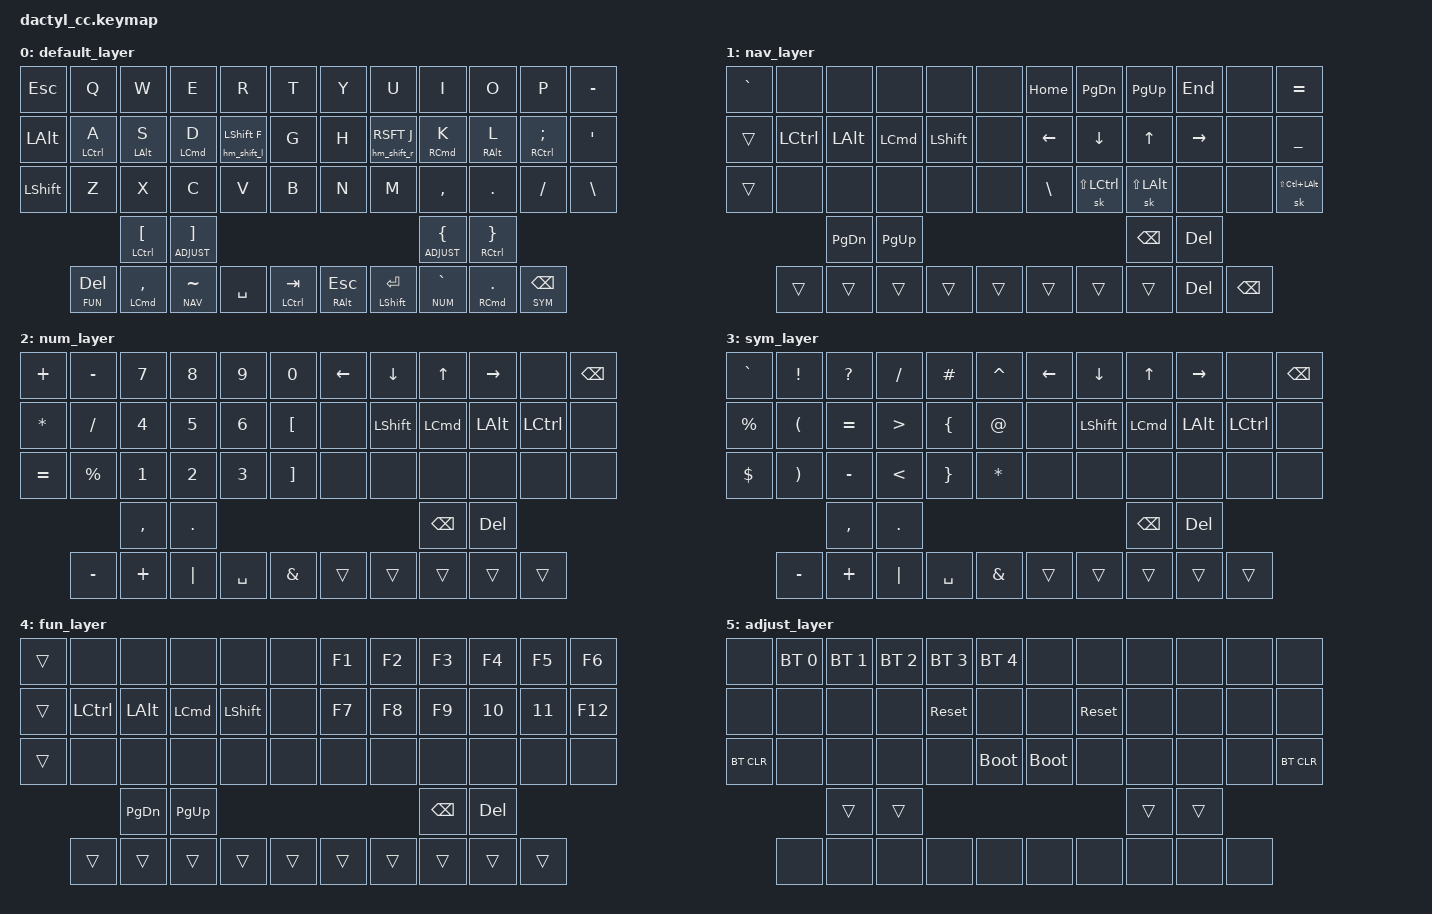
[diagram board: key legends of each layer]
#include "includes/keypos_dactylcc.h"

#define KEYS_L LT0 LT1 LT2 LT3 LT4 LT5 LM0 LM1 LM2 LM3 LM4 LM5 LB0 LB1 LB2 LB3 LB4 LB5 LF0 LF1
#define KEYS_R RT0 RT1 RT2 RT3 RT4 RT5 RM0 RM1 RM2 RM3 RM4 RM5 RB0 RB1 RB2 RB3 RB4 RB5 RF0 RF1
#define KEYS_T LH4 LH3 LH2 LH1 LH0 RH0 RH1 RH2 RH3 RH4 

#include <behaviors.dtsi>
#include <dt-bindings/zmk/keys.h>
#include <dt-bindings/zmk/bt.h>
#include <dt-bindings/zmk/outputs.h>
#include "includes/settings.dtsi"
#include "includes/behaviours_homerow_mods.dtsi"

#define DEFAULT 0
#define NAV     1
#define NUM     2 
#define SYM     3
#define FUN     4
#define ADJUST  5

#define HYPER(key) LS(LC(LA(LG(key))))
#define MEH(key)   LS(LC(LA(key)))

&sl {
    release-after-ms = <5000>;
};


&kscan0 {
    debounce-press-ms = <30>;
    debounce-release-ms = <30>;
};

/ {
    keymap {
        compatible = "zmk,keymap";

        default_layer {
            bindings = <
    &kp ESC   &kp Q         &kp W          &kp E            &kp R                &kp T       &kp Y     &kp U               &kp I           &kp O        &kp P            &kp MINUS
    &kp LALT  &hm_l LCTRL A &hm_l LALT S   &hm_l LCMD D     &hm_shift_l LSHFT F  &kp G       &kp H     &hm_shift_r RSFT J  &hm_r RCMD K    &hm_r RALT L &hm_r RCTRL SEMI &kp SQT
    &kp LSHFT &kp Z         &kp X          &kp C            &kp V                &kp B       &kp N     &kp M               &kp COMMA       &kp DOT      &kp FSLH         &kp BSLH
                            &mt LCTRL LBKT &lt ADJUST RBKT                                                                 &lt ADJUST LBRC &mt RCTRL RBRC
              &lt FUN DEL &mt LCMD COMMA &lt NAV TILDE  &kp SPACE &mt LCTRL TAB              &mt RALT ESC   &mt LSHFT ENTER &lt NUM GRAVE &mt RCMD DOT &lt SYM BSPC
            >;
        };

        nav_layer {
            bindings = <
    &kp GRAVE &none     &none    &none      &none     &none                              &kp HOME  &kp PG_DN   &kp PG_UP        &kp END    &none    &kp EQUAL
    &trans    &kp LCTRL &kp LALT &kp LCMD   &kp LSHFT &none                              &kp LEFT  &kp DOWN    &kp UP           &kp RIGHT  &none    &kp UNDER
    &trans    &none     &none    &none      &none     &none                              &kp BSLH  &sk LS(LCTRL)  &sk LS(LALT)  &none      &none    &sk LS(LC(LALT))
              &kp PG_DN &kp PG_UP                                                                     &kp BSPC  &kp DEL
              &trans &trans &trans &trans &trans                                        &trans   &trans    &trans    &kp DEL   &kp BSPC
            >;
        };

        num_layer {
            bindings = <
    &kp PLUS  &kp MINUS &kp N7   &kp N8  &kp N9   &kp N0                                &kp LEFT &kp DOWN    &kp UP       &kp RIGHT   &none       &kp BSPC
    &kp STAR  &kp FSLH   &kp N4   &kp N5  &kp N6   &kp LBKT                             &none    &kp LSHFT   &kp LCMD     &kp LALT    &kp LCTRL   &none
    &kp EQUAL &kp PRCNT  &kp N1   &kp N2  &kp N3   &kp RBKT                             &none    &none    &none        &none     &none     &none
              &kp COMMA  &kp DOT                                                                   &kp BSPC  &kp DEL
             &kp MINUS &kp PLUS &kp PIPE &kp SPACE &kp AMPS                            &trans &trans    &trans    &trans   &trans
            >;
        };

        sym_layer {
            bindings = <
    &kp GRAVE   &kp EXCL  &kp QMARK &kp FSLH  &kp HASH   &kp CARET                          &kp LEFT   &kp DOWN    &kp UP       &kp RIGHT  &none     &kp BSPC
    &kp PRCNT   &kp LPAR  &kp EQUAL &kp GT    &kp LBRC   &kp AT                             &none      &kp LSHFT   &kp LCMD     &kp LALT   &kp LCTRL &none
    &kp DLLR    &kp RPAR  &kp MINUS &kp LT    &kp RBRC   &kp STAR                             &none    &none        &none        &none     &none     &none
             &kp COMMA  &kp DOT                                                                   &kp BSPC  &kp DEL
             &kp MINUS &kp PLUS &kp PIPE &kp SPACE &kp AMPS                            &trans &trans    &trans    &trans   &trans
            >;
        };

        fun_layer {
            bindings = <
    &trans   &none    &none    &none      &none   &none                                &kp F1    &kp F2       &kp F3       &kp F4    &kp F5    &kp F6
    &trans   &kp LCTRL &kp LALT &kp LCMD  &kp LSHFT &none                              &kp F7    &kp F8       &kp F9       &kp 10    &kp 11    &kp F12
    &trans   &none    &none   &none    &none     &none                                 &none    &none        &none        &none     &none     &none
             &kp PG_DN &kp PG_UP                                                                   &kp BSPC  &kp DEL
             &trans &trans &trans &trans &trans                                        &trans &trans    &trans    &trans   &trans
            >;
        };

        adjust_layer {
            bindings = <
    &none       &bt BT_SEL 0 &bt BT_SEL 1 &bt BT_SEL 2 &bt BT_SEL 3   &bt BT_SEL 4         &none        &none       &none    &none    &none    &none
    &none       &none        &none        &none        &sys_reset     &none                &none        &sys_reset  &none    &none    &none    &none
    &bt BT_CLR  &none        &none        &none        &none          &bootloader          &bootloader  &none       &none    &none    &none    &bt BT_CLR
                &trans       &trans                                                                                 &trans   &trans
                &none        &none        &none        &none          &none                &none        &none       &none    &none   &none
            >;
        };

    };
};
